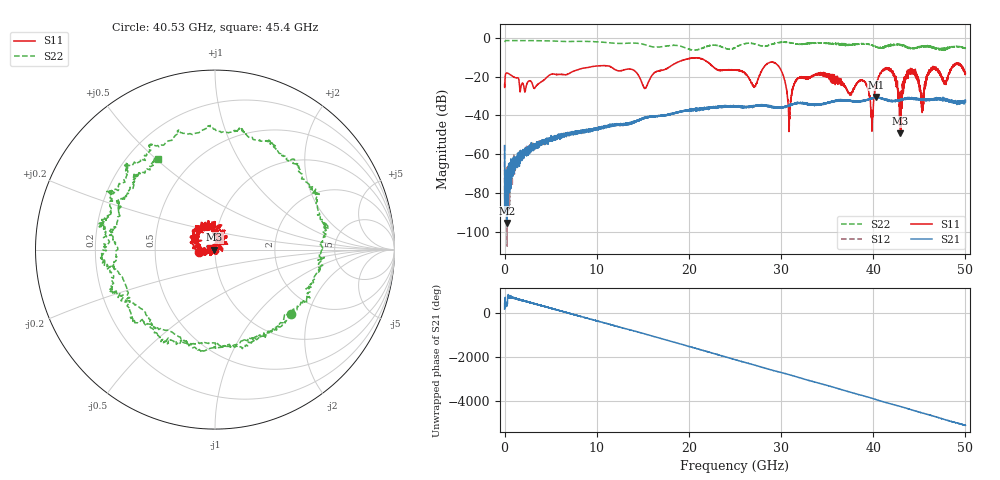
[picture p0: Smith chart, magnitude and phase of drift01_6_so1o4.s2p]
!Created with skrf (http://scikit-rf.org).
# Hz S RI R 50.0
!freq ReS11 ImS11 ReS21 ImS21 ReS12 ImS12 ReS22 ImS22
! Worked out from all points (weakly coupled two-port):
!   10001 points, 300 kHz to 50 GHz, reference 50 ohm
!   highest |S21| = -30.57 dB at 40.34 GHz (marker M1); lowest = -95.5 dB at 255.3 MHz (marker M2)
!   lowest |S11| = -49.2 dB at 42.96 GHz (marker M3), VSWR 1.01, Z = 49.7 + j0.0307 ohm
!   |S11| at or under -10 dB: start of sweep to end of sweep
!   |S22| runs from -6.6 to -1.4 dB; largest |S21 - S12| = 0.0051
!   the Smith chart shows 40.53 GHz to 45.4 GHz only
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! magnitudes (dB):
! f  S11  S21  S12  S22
! 300 kHz  -24.0  -55.6  -55.5  -2.1
! 255.3 MHz  -18.1  -95.5  -80.7  -1.4
! 2.62 GHz  -22.3  -57.2  -57.3  -1.4
! 8.335 GHz  -15.9  -48.1  -48.3  -1.8
! 13.78 GHz  -16.2  -44.0  -44.0  -2.7
! 15.23 GHz  -26.0  -41.2  -41.1  -3.6
! 16.67 GHz  -17.0  -40.4  -40.0  -4.8
! 25 GHz  -16.7  -35.8  -35.4  -5.1
! 27.11 GHz  -25.3  -35.1  -35.3  -3.2
! 29.41 GHz  -13.2  -36.1  -36.2  -2.8
! 30.91 GHz  -41.5  -34.7  -34.9  -2.5
! 31.67 GHz  -21.7  -33.8  -33.7  -3.2
! 33.34 GHz  -19.8  -34.3  -34.4  -2.6
! 38.91 GHz  -22.1  -32.3  -32.5  -3.0
! 39.84 GHz  -41.5  -31.3  -31.4  -3.8
! 40.34 GHz  -24.6  -30.6  -31.0  -4.8
! 41.67 GHz  -16.2  -32.5  -32.5  -4.1
! 42.96 GHz  -49.2  -32.0  -32.2  -3.8
! 44.06 GHz  -16.5  -31.4  -31.1  -5.3
! 45.31 GHz  -32.7  -32.0  -32.1  -4.4
! 46.43 GHz  -15.7  -32.0  -31.7  -4.7
! 50 GHz  -18.3  -32.3  -32.9  -5.4
